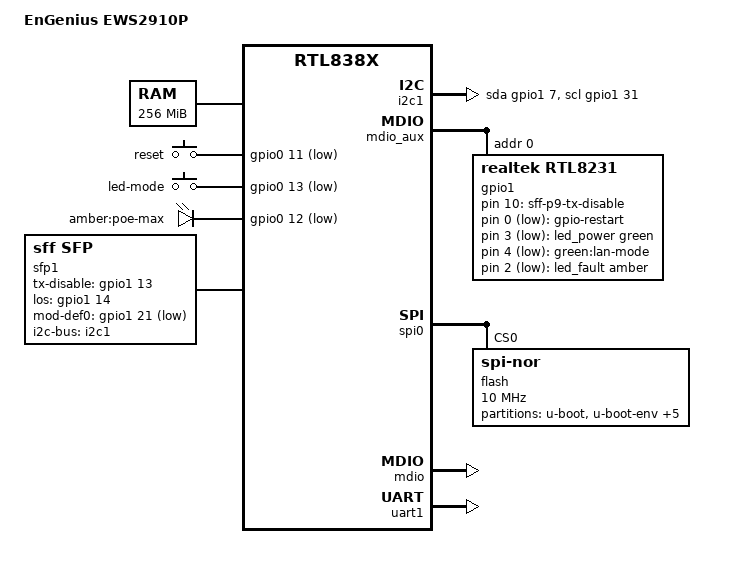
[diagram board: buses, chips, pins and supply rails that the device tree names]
// SPDX-License-Identifier: GPL-2.0-or-later

#include "rtl838x.dtsi"

#include <dt-bindings/input/input.h>
#include <dt-bindings/leds/common.h>
#include <dt-bindings/gpio/gpio.h>

/ {
	compatible = "engenius,ews2910p", "realtek,rtl838x-soc";
	model = "EnGenius EWS2910P";

	aliases {
		led-boot = &led_power;
		led-failsafe = &led_fault;
		led-running = &led_power;
		led-upgrade = &led_power;
	};

	memory@0 {
		device_type = "memory";
		reg = <0x0 0x10000000>;
	};

	keys {
		compatible = "gpio-keys";

		reset {
			label = "reset";
			gpios = <&gpio0 11 GPIO_ACTIVE_LOW>;
			linux,code = <KEY_RESTART>;
		};

		led_mode {
			label = "led-mode";
			gpios = <&gpio0 13 GPIO_ACTIVE_LOW>;
			linux,code = <BTN_0>;
		};
	};

	gpio-export {
		compatible = "gpio-export";

		sff-p9-tx-disable {
			gpio-export,name = "sff-p9-tx-disable";
			gpio-export,output = <1>;
			gpios = <&gpio1 10 GPIO_ACTIVE_HIGH>;
		};
	};

	gpio-restart {
		compatible = "gpio-restart";
		gpios = <&gpio1 0 GPIO_ACTIVE_LOW>;
	};

	leds {
		compatible = "gpio-leds";

		led_power: led-0 {
			function = LED_FUNCTION_POWER;
			color = <LED_COLOR_ID_GREEN>;
			gpios = <&gpio1 3 GPIO_ACTIVE_LOW>;
		};

		led_lan_mode: led-1 {
			label = "green:lan-mode";
			gpios = <&gpio1 4 GPIO_ACTIVE_LOW>;
		};

		led_fault: led-2 {
			function = LED_FUNCTION_FAULT;
			color = <LED_COLOR_ID_AMBER>;
			gpios = <&gpio1 2 GPIO_ACTIVE_LOW>;
		};

		led_poe_max: led-3 {
			label = "amber:poe-max";
			gpios = <&gpio0 12 GPIO_ACTIVE_LOW>;
		};
	};

	i2c1: i2c-gpio-1 {
		compatible = "i2c-gpio";
		sda-gpios = <&gpio1 7 (GPIO_ACTIVE_HIGH | GPIO_OPEN_DRAIN)>;
		scl-gpios = <&gpio1 31 (GPIO_ACTIVE_HIGH | GPIO_OPEN_DRAIN)>;
		i2c-gpio,delay-us = <2>;
		#address-cells = <1>;
		#size-cells = <0>;
	};
	sfp1: sfp-p10 {
		compatible = "sff,sfp";
		i2c-bus = <&i2c1>;
		tx-disable-gpio = <&gpio1 13 GPIO_ACTIVE_HIGH>;
		los-gpio = <&gpio1 14 GPIO_ACTIVE_HIGH>;
		mod-def0-gpio = <&gpio1 21 GPIO_ACTIVE_LOW>;
	};
};

&mdio_aux {
	status = "okay";

	gpio1: expander@0 {
		compatible = "realtek,rtl8231";
		reg = <0>;

		gpio-controller;
		#gpio-cells = <2>;
		gpio-ranges = <&gpio1 0 0 37>;

		poe_enable {
			gpio-hog;
			gpios = <1 GPIO_ACTIVE_HIGH>;
			output-high;
			line-name = "poe-enable";
		};

		sff_p9_gpios {
			gpio-hog;
			gpios = < 6 (GPIO_ACTIVE_HIGH | GPIO_OPEN_DRAIN)>,
				< 11 GPIO_ACTIVE_HIGH>, /* los-gpio */
				< 12 GPIO_ACTIVE_LOW>;   /* mod-def0-gpio */
			input;
			line-name = "sff-p9-gpios";
		};

		led-controller {
			compatible = "realtek,rtl8231-leds";
			status = "disabled";
		};
	};
};

&spi0 {
	status = "okay";

	flash@0 {
		compatible = "jedec,spi-nor";
		reg = <0>;
		spi-max-frequency = <10000000>;

		partitions {
			compatible = "fixed-partitions";
			#address-cells = <1>;
			#size-cells = <1>;

			partition@0 {
				label = "u-boot";
				reg = <0x0 0x80000>;
				read-only;
			};
			partition@80000 {
				label = "u-boot-env";
				reg = <0x80000 0x10000>;
				read-only;
			};
			partition@90000 {
				label = "u-boot-env2";
				reg = <0x90000 0x10000>;
			};
			partition@a0000 {
				label = "rootfs_data";
				reg = <0xa0000 0xd60000>;
			};
			partition@e00000 {
				label = "jffs2-log";
				reg = <0xe00000 0x200000>;
			};
			partition@1000000 {
				compatible = "openwrt,uimage";
				label = "firmware";
				reg = <0x1000000 0x800000>;
				openwrt,ih-magic = <0x03802910>;
			};
			partition@1800000 {
				label = "firmware2";
				reg = <0x1800000 0x800000>;
			};
		};
	};
};

&ethernet0 {
	mdio: mdio-bus {
		compatible = "realtek,rtl838x-mdio";
		regmap = <&ethernet0>;
		#address-cells = <1>;
		#size-cells = <0>;

		INTERNAL_PHY(8)
		INTERNAL_PHY(9)
		INTERNAL_PHY(10)
		INTERNAL_PHY(11)
		INTERNAL_PHY(12)
		INTERNAL_PHY(13)
		INTERNAL_PHY(14)
		INTERNAL_PHY(15)

		INTERNAL_PHY(24)
		INTERNAL_PHY(26)
	};
};

&switch0 {
	ports {
		#address-cells = <1>;
		#size-cells = <0>;

		SWITCH_PORT(8, 1, internal)
		SWITCH_PORT(9, 2, internal)
		SWITCH_PORT(10, 3, internal)
		SWITCH_PORT(11, 4, internal)
		SWITCH_PORT(12, 5, internal)
		SWITCH_PORT(13, 6, internal)
		SWITCH_PORT(14, 7, internal)
		SWITCH_PORT(15, 8, internal)

		SWITCH_SFP_PORT(24, 9, 1000base-x)

		port@26 {
			reg = <26>;
			label = "lan10";
			phy-mode = "1000base-x";
			phy-handle = <&phy26>;
			managed = "in-band-status";
			sfp = <&sfp1>;
		};

		port@28 {
			ethernet = <&ethernet0>;
			reg = <28>;
			phy-mode = "internal";

			fixed-link {
				speed = <1000>;
				full-duplex;
			};
		};
	};
};

&uart1 {
	status = "okay";
};
